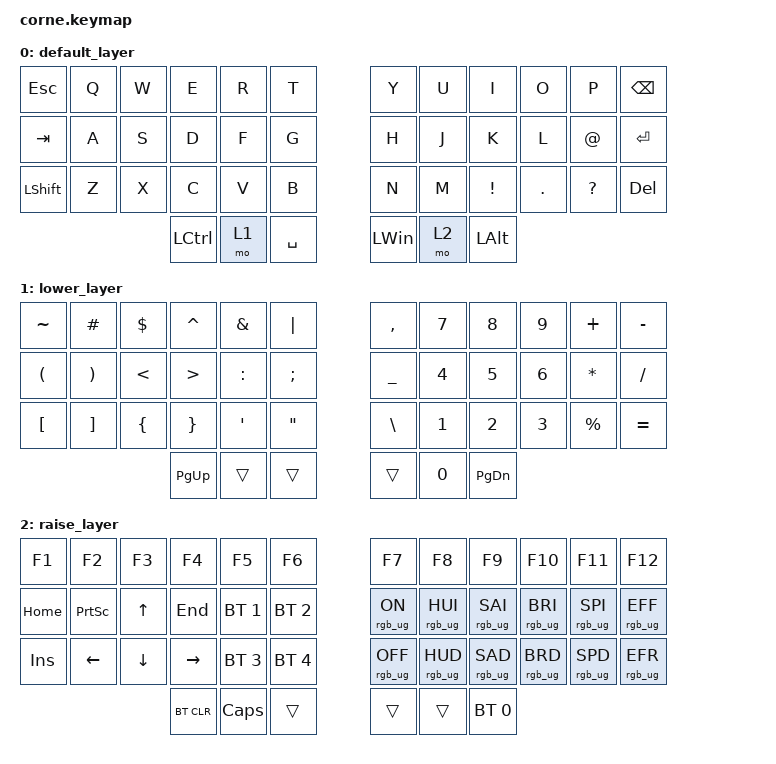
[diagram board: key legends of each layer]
/*
 * Copyright (c) 2020 The ZMK Contributors
 *
 * SPDX-License-Identifier: MIT
 */

#include <behaviors.dtsi>
#include <dt-bindings/zmk/keys.h>
#include <dt-bindings/zmk/bt.h>
#include <dt-bindings/zmk/rgb.h>

&led_strip {
    chain-length = <27>;
};

/ {
        keymap {
                compatible = "zmk,keymap";

                default_layer {
// -----------------------------------------------------------------------------------------
// |  TAB |  Q  |  W  |  E  |  R  |  T  |   |  Y  |  U   |  I  |  O  |  P  | BSPC |
// | CTRL |  A  |  S  |  D  |  F  |  G  |   |  H  |  J   |  K  |  L  |  ;  |  '   |
// | SHFT |  Z  |  X  |  C  |  V  |  B  |   |  N  |  M   |  ,  |  .  |  /  | ESC  |
//                    | GUI | LWR | SPC |   | ENT | RSE  | ALT |
                        bindings = <
   &kp ESC   &kp Q &kp W &kp E &kp R &kp T   &kp Y &kp U  &kp I     &kp O   &kp P    &kp BSPC
&kp TAB &kp A &kp S &kp D &kp F &kp G   &kp H &kp J  &kp K     &kp L   &kp AT &kp RET
   &kp LSHFT &kp Z &kp X &kp C &kp V &kp B   &kp N &kp M  &kp EXCL &kp DOT &kp QMARK &kp DEL
                  &kp LEFT_CONTROL &mo 1 &kp SPACE   &kp LWIN &mo 2 &kp LEFT_ALT
                        >;
                };
                lower_layer {
// -----------------------------------------------------------------------------------------
// |  TAB |  1  |  2  |  3  |  4  |  5  |   |  6  |  7  |  8  |  9  |  0  | BSPC |
// | BTCLR| BT1 | BT2 | BT3 | BT4 | BT5 |   | LFT | DWN |  UP | RGT |     |      |
// | SHFT |     |     |     |     |     |   |     |     |     |     |     |      |
//                    | GUI |     | SPC |   | ENT |     | ALT |
                        bindings = <
   &kp TILDE    &kp HASH       &kp DLLR       &kp CARET       &kp AMPS       &kp PIPE         &kp COMMA   &kp N7   &kp N8 &kp N9    &kp PLUS &kp MINUS
   &kp LPAR &kp RPAR &kp LT &kp GT &kp COLON &kp SEMI   &kp UNDER &kp N4 &kp N5 &kp N6 &kp STAR &kp FSLH
   &kp LBKT  &kp RBKT       &kp LBRC       &kp RBRC       &kp APOS       &kp DQT         &kp BSLH   &kp N1   &kp N2 &kp N3    &kp PRCNT &kp EQUAL
                                    &kp PG_UP     &trans       &trans      &trans  &kp N0   &kp PG_DN
                        >;
                };

                raise_layer {
// -----------------------------------------------------------------------------------------
// |  TAB |  !  |  @  |  #  |  $  |  %  |   |  ^  |  &  |  *  |  (  |  )  | BSPC |
// | CTRL |     |     |     |     |     |   |  -  |  =  |  [  |  ]  |  \  |  `   |
// | SHFT |     |     |     |     |     |   |  _  |  +  |  {  |  }  | "|" |  ~   |
//                    | GUI |     | SPC |   | ENT |     | ALT |
                        bindings = <
   &kp F1  &kp F2 &kp F3 &kp F4 &kp F5 &kp F6   &kp F7 &kp F8  &kp F9 &kp F10 &kp F11 &kp F12
   &kp HOME &kp PSCRN   &kp UP &kp END   &bt BT_SEL 1   &bt BT_SEL 2      &rgb_ug RGB_ON &rgb_ug RGB_HUI &rgb_ug RGB_SAI  &rgb_ug RGB_BRI &rgb_ug RGB_SPI &rgb_ug RGB_EFF
   &kp INS &kp LEFT   &kp DOWN &kp RIGHT   &bt BT_SEL 3   &bt BT_SEL 4      &rgb_ug RGB_OFF &rgb_ug RGB_HUD  &rgb_ug RGB_SAD  &rgb_ug RGB_BRD &rgb_ug RGB_SPD &rgb_ug RGB_EFR
                             &bt BT_CLR &kp CLCK   &trans   &trans   &trans    &bt BT_SEL 0
                        >;
                };
        };
};
